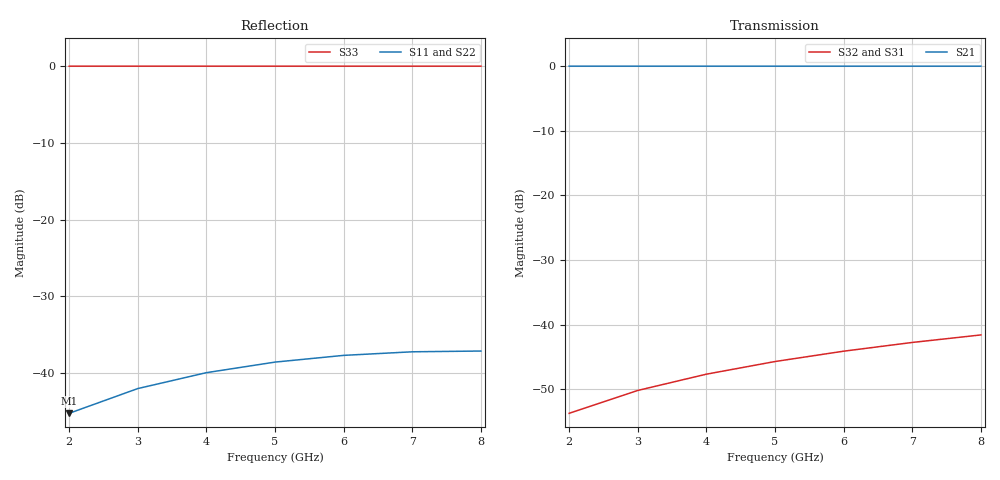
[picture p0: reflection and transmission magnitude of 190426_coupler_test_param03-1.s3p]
! Sonnet Data File
! From: emgraph Version : 16.56
! From Project: 190426_coupler_test
! Data is De-embedded
! Data File Written: 05/06/2019 15:59:44
!< HDATE 04/25/2019 10:48:44
!< MDATE 04/25/2019 10:59:35
!< PARAMS
!< tandelta = 0.0
!< t_aSi = 0.25
!< W = 10.0
!< Lcoupler = 200.0
!< END PARAMS
# GHZ S MA R 50.0 !  non standard terminations in data
! TERM 50.00000 0.000000 50.00000 0.000000 63.84000 0.000000
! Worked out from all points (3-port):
!   7 points, 2 GHz to 8 GHz, reference 50 ohm
!   strongest paths, dB at 2 GHz, 3 GHz, 5 GHz, 7 GHz, 8 GHz:
!     S21: 0.0, 0.0, 0.0, 0.0, 0.0
!     S32: -53.7, -50.2, -45.7, -42.8, -41.6
!     S31: -53.7, -50.2, -45.8, -42.9, -41.7
!   lowest |S11| = -45.2 dB at 2 GHz (marker M1), VSWR 1.01, Z = 50.2 + j0.503 ohm
!   |S11| at or under -10 dB: start of sweep to end of sweep
2  0.005464 66.4  1 -21.6  0.002057 66.1
   1 -21.6  0.005462 70.4  0.002061 87.6
   0.002057 66.1  0.002061 87.6  1 -5.0
3  0.00792 54.5  1 -32.5  0.003085 54.1
   1 -32.5  0.007915 60.6  0.003097 86.4
   0.003085 54.1  0.003097 86.4  1 -7.4
4  0.01005 42.6  0.9999 -43.3  0.004113 42.1
   0.9999 -43.3  0.01005 50.9  0.004139 85.1
   0.004113 42.1  0.004139 85.1  1 -9.9
5  0.01178 30.7  0.9999 -54.1  0.00514 30.1
   0.9999 -54.1  0.01176 41.2  0.005185 83.8
   0.00514 30.1  0.005185 83.8  1 -12.4
6  0.01303 18.7  0.9999 -64.9  0.006166 18.2
   0.9999 -64.9  0.013 31.6  0.006234 82.4
   0.006166 18.2  0.006234 82.4  1 -14.9
7  0.01375 6.6  0.9999 -75.7  0.007192 6.2
   0.9999 -75.7  0.01371 22.1  0.007283 81.0
   0.007192 6.2  0.007283 81.0  0.9999 -17.4
8  0.01391 -5.7  0.9999 -86.5  0.008216 -5.8
   0.9999 -86.5  0.01385 12.7  0.008328 79.6
   0.008216 -5.8  0.008328 79.6  0.9999 -19.9
